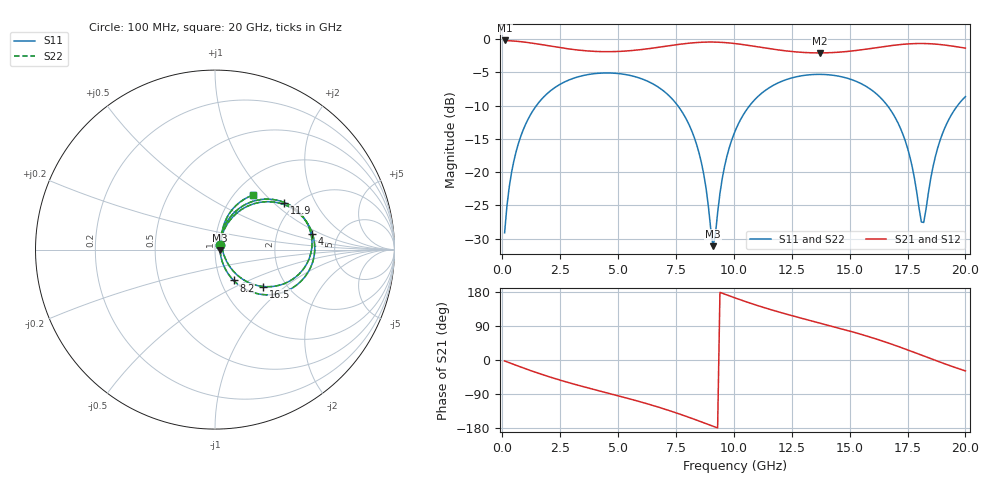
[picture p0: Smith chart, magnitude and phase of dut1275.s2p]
! Touchstone file exported from HFSS 2026.1.0
!  File:  C:/ffzhzh/LocalFiles/Ansys_Project_Files/temp_train_TSV_RDL_1275_1783329391_30076.aedt
!  Generated:  05:35:11 PM Jul  6, 2026
!  Design:  TSV_RDL
!  Project:  temp_train_TSV_RDL_1275_1783329391_30076
! Variables:
!  h_bsmrdl = 4.67um
!  h_ox = 20um
!  h_rdl = 5um
!  h_sub = 87.23um
!  h_tmrdl = 4.58um
!  h_tsv = 87.23um
!  h_via = 3um
!  l_bsmrdl = 833.15um
!  l_sub = 6475.9um
!  l_tmrdl = 858.06um
!  m_sub = 200um
!  pitch = 54.28um
!  r_tsv = 4.56um
!  s_tmrdl = 10um
!  w_bsmrdl = 29.11um
!  w_sub = 500um
!  w_tmrdl = 18.96um
!  x_tsv_center1 = 867.54um
!  x_tsv_center2 = 1729.8um
!  x_tsv_center3 = 2606.82um
!  x_tsv_center4 = 3469.08um
!  x_tsv_center5 = 4346.1um
!  x_tsv_center6 = 5208.36um
# GHz S MA R 50.000000
! Terminal data exported
! Port[1] = TM_RDL1_1_T1
! Port[2] = TM_RDL5_1_T1
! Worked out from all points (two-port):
!   200 points, 100 MHz to 20 GHz, reference 50 ohm
!   highest |S21| = -0.22 dB at 100 MHz (marker M1); lowest = -2.1 dB at 13.7 GHz (marker M2)
!   |S21| within 3 dB of the highest: start of sweep to end of sweep
!   lowest |S11| = -31.1 dB at 9.1 GHz (marker M3), VSWR 1.06, Z = 52.9 - j0.189 ohm
!   |S11| at or under -10 dB: start of sweep to 1.475 GHz; 7.576 GHz to 10.68 GHz (3.108 GHz wide, 34 % of centre); 16.63 GHz to 19.66 GHz (3.031 GHz wide, 16.7 % of centre)
!   |S22| runs from -31.1 to -5.1 dB; largest |S21 - S12| = 2.4e-14
!   S11 on the Smith chart (normalised r, x): 100 MHz: 1.05, +0.05; 4 GHz: 3.22, +0.82; 8.2 GHz: 1.15, -0.41; 11.9 GHz: 1.76, +1.18; 16.5 GHz: 1.53, -0.71; 20 GHz: 1.21, +0.85
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0.1  0.03506 43.7  0.9754 -2.4  0.9754 -2.4  0.03506 43.7
! Gamma 0 0 0 0
! Port Impedance 50 0 50 0
0.5  0.1215 65.3  0.9657 -11.8  0.9657 -11.8  0.1215 65.3
1.1  0.2474 58.3  0.9411 -25.2  0.9411 -25.2  0.2474 58.3
2.1  0.4108 40.4  0.8835 -45.7  0.8835 -45.7  0.4108 40.4
3.5  0.5322 17.0  0.8187 -70.4  0.8187 -70.4  0.5322 17.0
4  0.5499 9.3  0.8074 -78.5  0.8074 -78.5  0.5499 9.3
5.4  0.5378 -12.2  0.814 -100.9  0.814 -100.9  0.5378 -12.1
6.8  0.4279 -35.1  0.8694 -125.5  0.8694 -125.5  0.4278 -35.1
8.2  0.2006 -58.9  0.9353 -154.3  0.9353 -154.3  0.2006 -58.8
8.7  0.09655 -61.1  0.9472 -165.6  0.9472 -165.6  0.09657 -61.0
9.1  0.02781 -3.7  0.9489 -174.7  0.9489 -174.7  0.02797 -3.6
9.6  0.1106 67.9  0.9406 173.9  0.9406 173.9  0.1107 67.8
10.1  0.2122 64.1  0.9222 162.8  0.9222 162.8  0.2122 64.1
11.9  0.4673 34.2  0.8289 127.4  0.8289 127.4  0.4673 34.1
13.4  0.5409 11.0  0.7877 102.5  0.7877 102.5  0.5409 11.0
13.7  0.5427 6.5  0.7865 97.7  0.7865 97.7  0.5427 6.6
16.5  0.3374 -37.5  0.8781 48.4  0.8781 48.4  0.3375 -37.5
16.7  0.3048 -40.8  0.8878 44.3  0.8878 44.3  0.3048 -40.7
17.5  0.1518 -49.7  0.9183 26.7  0.9183 26.7  0.152 -49.5
18.2  0.04191 24.2  0.9252 10.6  0.9252 10.6  0.04244 24.0
18.9  0.1721 70.2  0.9093 -5.4  0.9093 -5.4  0.1722 70.1
20  0.3693 55.2  0.8542 -28.8  0.8542 -28.8  0.3693 55.1
